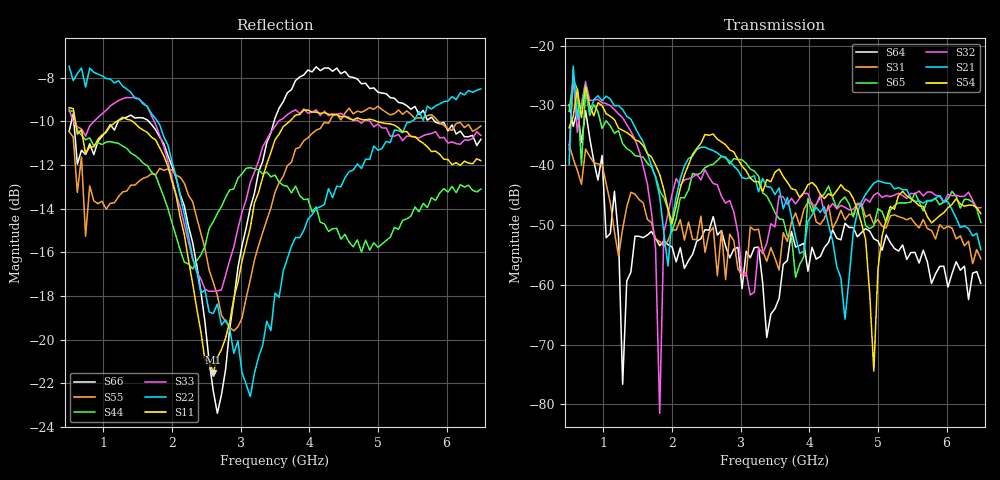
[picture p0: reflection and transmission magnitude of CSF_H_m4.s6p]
!Keysight Technologies,M9804A,MY58100912,A.14.10.03
!Date: Thursday, April 27, 2023 10:28:33
!Correction: S11(C  6-Port  )
!S12(C  6-Port  )
!S13(C  6-Port  )
!S14(C  6-Port  )
!S15(C  6-Port  )
!S16(C  6-Port  )
!S21(C  6-Port  )
!S22(C  6-Port  )
!S23(C  6-Port  )
!S24(C  6-Port  )
!S25(C  6-Port  )
!S26(C  6-Port  )
!S31(C  6-Port  )
!S32(C  6-Port  )
!S33(C  6-Port  )
!S34(C  6-Port  )
!S35(C  6-Port  )
!S36(C  6-Port  )
!S41(C  6-Port  )
!S42(C  6-Port  )
!S43(C  6-Port  )
!S44(C  6-Port  )
!S45(C  6-Port  )
!S46(C  6-Port  )
!S51(C  6-Port  )
!S52(C  6-Port  )
!S53(C  6-Port  )
!S54(C  6-Port  )
!S55(C  6-Port  )
!S56(C  6-Port  )
!S61(C  6-Port  )
!S62(C  6-Port  )
!S63(C  6-Port  )
!S64(C  6-Port  )
!S65(C  6-Port  )
!S66(C  6-Port  )
!S6P File: Measurement: :
# Hz S  RI  R 50
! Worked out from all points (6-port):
!   101 points, 500 MHz to 6.5 GHz, reference 50 ohm
!   strongest paths, dB at 500 MHz, 2 GHz, 3.5 GHz, 5 GHz, 6.5 GHz:
!     S54: -33.8, -49.7, -41.2, -57.4, -48.1
!     S21: -39.9, -49.0, -44.9, -42.6, -54.1
!     S32: -37.4, -44.9, -50.3, -44.6, -47.1
!     S65: -31.0, -51.1, -47.9, -47.3, -49.6
!     S31: -36.5, -50.8, -55.6, -49.1, -55.7
!     S64: -29.9, -53.7, -64.0, -52.7, -59.8
!   lowest |S11| = -21.5 dB at 2.6 GHz (marker M1), VSWR 1.18, Z = 42.5 + j2.17 ohm
!   |S11| at or under -10 dB: 589.9 MHz to 1.197 GHz (607.5 MHz wide, 68 % of centre); 1.421 GHz to 3.713 GHz (2.293 GHz wide, 89.3 % of centre); 4.977 GHz to end of sweep
